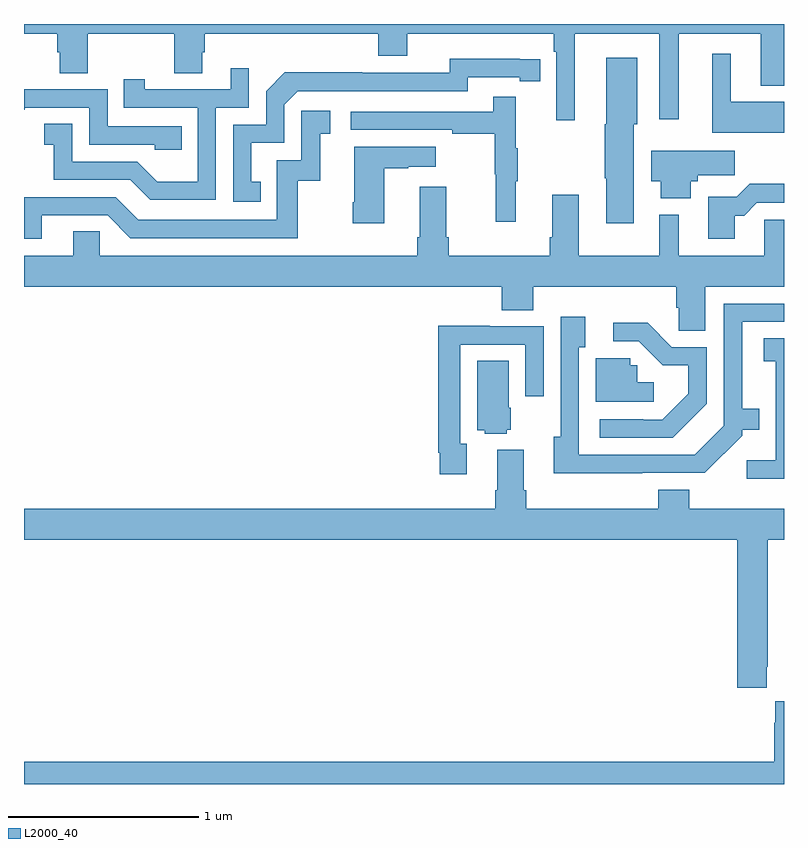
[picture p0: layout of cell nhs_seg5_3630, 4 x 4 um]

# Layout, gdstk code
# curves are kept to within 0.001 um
import gdstk
lib = gdstk.Library(unit=1e-6, precision=1e-09)
def P(c, l, *ps):  # polygons
    for p in ps: c.add(gdstk.Polygon(p, *l))
L2000_40 = (2000, 40)

nhs_seg5_3630 = lib.new_cell('nhs_seg5_3630')
P(nhs_seg5_3630, L2000_40, [(325,868.748),(325.175,868.748),(325.175,868.65),(325.187,868.65),(325.187,868.54),(325.335,868.54),(325.335,868.748),(325.792,868.748),(325.792,868.54),(325.939,868.54),(325.939,868.65),(325.952,868.65),(325.952,868.748),(326.864,868.748),(326.864,868.631),(327.016,868.631),(327.016,868.748),(327.788,868.748),(327.788,868.652),(327.801,868.652),(327.801,868.293),(327.898,868.293),(327.898,868.748),(328.343,868.748),(328.343,868.299),(328.447,868.299),(328.447,868.748),(328.877,868.748),(328.877,868.475),(329,868.475),(329,868.799),(325,868.799)],
  [(329,868.39),(328.72,868.39),(328.72,868.642),(328.622,868.642),(328.622,868.226),(329,868.226)],
  [(328.21,868.272),(328.228,868.272),(328.228,868.621),(328.064,868.621),(328.064,868.272),(328.057,868.272),(328.057,867.988),(328.064,867.988),(328.064,867.75),(328.21,867.75)],
  [(326.246,867.969),(326.197,867.969),(326.197,868.173),(326.37,868.173),(326.37,868.374),(326.442,868.446),(327.336,868.446),(327.336,868.518),(327.608,868.518),(327.608,868.498),(327.716,868.498),(327.716,868.614),(327.24,868.615),(327.24,868.542),(326.78,868.542),(326.78,868.544),(326.372,868.544),(326.274,868.446),(326.274,868.269),(326.1,868.269),(326.1,867.864),(326.246,867.864)],
  [(326.01,868.359),(326.184,868.359),(326.184,868.567),(326.087,868.567),(326.087,868.455),(325.636,868.455),(325.636,868.507),(325.525,868.507),(325.525,868.359),(325.914,868.359),(325.914,867.97),(325.7,867.97),(325.596,868.074),(325.254,868.074),(325.254,868.273),(325.107,868.273),(325.107,868.163),(325.156,868.163),(325.156,867.978),(325.559,867.978),(325.664,867.873),(326.01,867.873)],
  [(325.829,868.26),(325.44,868.26),(325.44,868.455),(325,868.455),(325,868.347),(325.003,868.347),(325.003,868.359),(325.344,868.359),(325.344,868.164),(325.689,868.164),(325.689,868.137),(325.829,868.137)],
  [(327.587,867.971),(327.598,867.971),(327.598,868.145),(327.587,868.145),(327.587,868.417),(327.469,868.417),(327.469,868.338),(326.721,868.338),(326.721,868.242),(327.253,868.242),(327.253,868.222),(327.477,868.222),(327.477,868.008),(327.484,868.008),(327.484,867.759),(327.587,867.759)],
  [(325.093,867.792),(325.44,867.792),(325.56,867.672),(326.44,867.672),(326.44,867.975),(326.558,867.975),(326.558,868.221),(326.611,868.221),(326.611,868.342),(326.46,868.342),(326.46,868.083),(326.331,868.083),(326.331,867.768),(325.602,867.768),(325.482,867.888),(325,867.888),(325,867.669),(325.093,867.669)],
  [(326.896,868.039),(327.023,868.039),(327.023,868.049),(327.166,868.049),(327.166,868.153),(326.738,868.153),(326.738,867.862),(326.731,867.862),(326.731,867.75),(326.896,867.75)],
  [(328.51,867.971),(328.546,867.971),(328.546,868.003),(328.741,868.003),(328.741,868.132),(328.302,868.132),(328.302,867.971),(328.352,867.971),(328.352,867.881),(328.51,867.881)],
  [(328.741,867.791),(328.79,867.791),(328.857,867.858),(329,867.858),(329,867.959),(328.82,867.959),(328.75,867.889),(328.601,867.889),(328.601,867.669),(328.741,867.669)],
  [(328.585,867.416),(329,867.416),(329,867.77),(328.896,867.77),(328.896,867.58),(328.447,867.58),(328.447,867.796),(328.343,867.796),(328.343,867.58),(327.919,867.58),(327.919,867.901),(327.779,867.901),(327.779,867.676),(327.767,867.676),(327.767,867.58),(327.236,867.58),(327.236,867.676),(327.223,867.676),(327.223,867.943),(327.083,867.943),(327.083,867.676),(327.071,867.676),(327.071,867.58),(325.398,867.58),(325.398,867.707),(325.259,867.707),(325.259,867.58),(325,867.58),(325,867.416),(327.515,867.416),(327.515,867.292),(327.68,867.292),(327.68,867.416),(328.433,867.416),(328.433,867.306),(328.447,867.306),(328.447,867.184),(328.585,867.184)],
  [(328.253,866.436),(328.584,866.436),(328.779,866.631),(328.779,866.663),(328.871,866.663),(328.871,866.773),(328.78,866.773),(328.78,867.231),(329,867.231),(329,867.327),(328.683,867.327),(328.683,866.685),(328.53,866.532),(327.921,866.532),(327.921,867.098),(327.955,867.098),(327.955,867.259),(327.825,867.259),(327.825,866.626),(327.788,866.626),(327.788,866.435)],
  [(328.593,866.801),(328.593,867.099),(328.41,867.099),(328.282,867.227),(328.101,867.227),(328.101,867.129),(328.236,867.129),(328.363,867.002),(328.496,867.002),(328.496,866.852),(328.359,866.715),(328.259,866.715),(328.259,866.718),(328.029,866.718),(328.029,866.622),(328.414,866.622)],
  [(327.331,866.591),(327.297,866.591),(327.297,867.111),(327.639,867.111),(327.639,866.841),(327.735,866.841),(327.735,867.207),(327.451,867.207),(327.451,867.211),(327.181,867.211),(327.181,866.542),(327.189,866.542),(327.189,866.43),(327.331,866.43)],
  [(329,867.146),(328.893,867.146),(328.893,867.025),(328.956,867.025),(328.956,866.503),(328.803,866.503),(328.803,866.405),(329,866.405)],
  [(328.315,866.914),(328.227,866.914),(328.227,867.003),(328.191,867.003),(328.191,867.039),(328.01,867.039),(328.01,866.811),(328.315,866.811)],
  [(327.54,866.664),(327.562,866.664),(327.562,866.778),(327.55,866.778),(327.55,867.026),(327.386,867.026),(327.386,866.66),(327.426,866.66),(327.426,866.642),(327.54,866.642)],
  [(328.754,865.305),(328.909,865.305),(328.909,865.417),(328.914,865.417),(328.914,866.084),(329,866.084),(329,866.248),(328.502,866.248),(328.502,866.347),(328.337,866.347),(328.337,866.248),(327.644,866.248),(327.644,866.344),(327.631,866.344),(327.631,866.557),(327.491,866.557),(327.491,866.344),(327.479,866.344),(327.479,866.248),(325,866.248),(325,866.084),(328.754,866.084)],
  [(329,865.234),(328.955,865.234),(328.955,865.121),(328.949,865.121),(328.949,864.916),(325,864.916),(325,864.799),(329,864.799)])

lib.write_gds('nhs_seg5_3630.gds')
